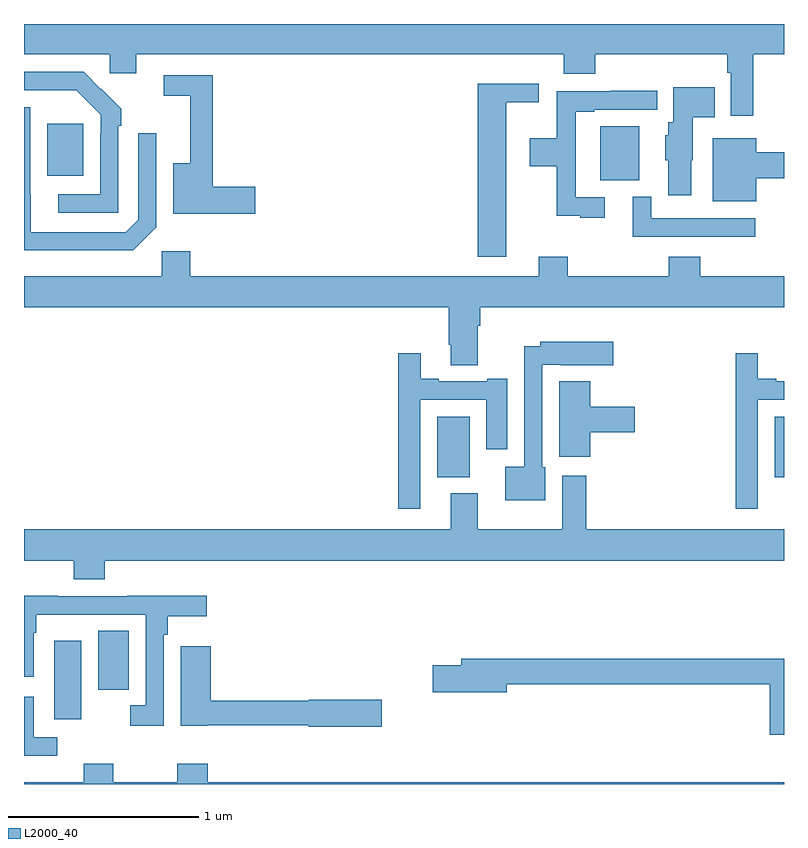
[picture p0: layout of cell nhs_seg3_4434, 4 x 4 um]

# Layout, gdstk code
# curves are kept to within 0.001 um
import gdstk
lib = gdstk.Library(unit=1e-6, precision=1e-09)
def R(c, l, rs):  # rectangles x0, y0, x1, y1
    for r in rs: c.add(gdstk.rectangle(r[:2], r[2:], *l))
def P(c, l, *ps):  # polygons
    for p in ps: c.add(gdstk.Polygon(p, *l))
L2000_40 = (2000, 40)

nhs_seg3_4434 = lib.new_cell('nhs_seg3_4434')
R(nhs_seg3_4434, L2000_40, [(347.159,706.74,347.302,707.155), (347.39,706.896,347.551,707.207), (349.175,708.014,349.345,708.334), (350.951,708.014,351,708.334), (350.033,709.577,350.239,709.861), (347.123,709.601,347.311,709.876)])
P(nhs_seg3_4434, L2000_40, [(350.837,710.24),(351,710.24),(351,710.4),(347,710.4),(347,710.24),(347.451,710.24),(347.451,710.142),(347.59,710.142),(347.59,710.24),(349.841,710.24),(349.841,710.138),(350.006,710.138),(350.006,710.24),(350.701,710.24),(350.701,710.144),(350.721,710.144),(350.721,709.917),(350.837,709.917)],
  [(347.496,709.865),(347.511,709.865),(347.511,709.953),(347.314,710.148),(347,710.148),(347,710.052),(347.275,710.052),(347.403,709.923),(347.403,709.823),(347.4,709.823),(347.4,709.503),(347.181,709.503),(347.181,709.407),(347.496,709.407)],
  [(348.217,709.544),(347.993,709.544),(347.993,710.13),(347.736,710.13),(347.736,710.022),(347.876,710.022),(347.876,709.666),(347.786,709.666),(347.786,709.402),(348.217,709.402)],
  [(349.537,709.988),(349.708,709.988),(349.708,710.086),(349.388,710.086),(349.388,709.176),(349.537,709.176)],
  [(350.512,709.683),(350.521,709.683),(350.521,709.91),(350.636,709.91),(350.636,710.068),(350.417,710.068),(350.417,709.884),(350.39,709.884),(350.39,709.815),(350.375,709.815),(350.375,709.683),(350.39,709.683),(350.39,709.5),(350.512,709.5)],
  [(350.056,709.488),(349.905,709.488),(349.905,709.938),(350.002,709.938),(350.002,709.95),(350.332,709.95),(350.332,710.048),(350.089,710.048),(350.089,710.046),(349.804,710.046),(349.804,709.798),(349.662,709.798),(349.662,709.651),(349.804,709.651),(349.804,709.391),(349.928,709.391),(349.928,709.38),(350.056,709.38)],
  [(347.697,709.329),(347.697,709.825),(347.601,709.825),(347.601,709.371),(347.535,709.305),(347.035,709.305),(347.035,709.505),(347.034,709.505),(347.034,709.962),(347,709.962),(347,709.208),(347.576,709.208)],
  [(350.854,709.588),(351,709.588),(351,709.724),(350.854,709.724),(350.854,709.798),(350.624,709.798),(350.624,709.466),(350.854,709.466)],
  [(350.848,709.377),(350.301,709.377),(350.301,709.492),(350.204,709.492),(350.204,709.281),(350.848,709.281)],
  [(349.387,708.812),(349.4,708.812),(349.4,708.908),(351,708.908),(351,709.072),(350.558,709.072),(350.558,709.174),(350.393,709.174),(350.393,709.072),(349.862,709.072),(349.862,709.174),(349.709,709.174),(349.709,709.072),(347.876,709.072),(347.876,709.204),(347.724,709.204),(347.724,709.072),(347,709.072),(347,708.908),(349.235,708.908),(349.235,708.712),(349.247,708.712),(349.247,708.604),(349.387,708.604)],
  [(349.744,708.066),(349.728,708.066),(349.728,708.606),(349.825,708.606),(349.825,708.605),(350.101,708.605),(350.101,708.727),(349.716,708.727),(349.716,708.704),(349.632,708.704),(349.632,708.07),(349.532,708.07),(349.532,707.894),(349.744,707.894)],
  [(349.086,708.423),(349.433,708.423),(349.433,708.162),(349.543,708.162),(349.543,708.532),(349.439,708.532),(349.439,708.519),(349.183,708.519),(349.183,708.532),(349.087,708.532),(349.087,708.667),(348.97,708.667),(348.97,707.85),(349.086,707.85)],
  [(350.862,708.423),(351,708.423),(351,708.519),(350.959,708.519),(350.959,708.532),(350.863,708.532),(350.863,708.667),(350.746,708.667),(350.746,707.85),(350.862,707.85)],
  [(349.979,708.251),(350.215,708.251),(350.215,708.385),(349.979,708.385),(349.979,708.52),(349.817,708.52),(349.817,708.123),(349.979,708.123)],
  [(347.426,707.576),(351,707.576),(351,707.74),(349.958,707.74),(349.958,708.022),(349.832,708.022),(349.832,707.74),(349.387,707.74),(349.387,707.929),(349.247,707.929),(349.247,707.74),(347,707.74),(347,707.576),(347.261,707.576),(347.261,707.477),(347.426,707.477)],
  [(347.736,707.186),(347.756,707.186),(347.756,707.282),(347.962,707.282),(347.962,707.39),(347.543,707.39),(347.543,707.388),(347.177,707.388),(347.177,707.39),(347,707.39),(347,706.965),(347.052,706.965),(347.052,707.195),(347.065,707.195),(347.065,707.291),(347.294,707.291),(347.294,707.292),(347.64,707.292),(347.64,706.815),(347.559,706.815),(347.559,706.707),(347.736,706.707)],
  [(348.883,706.844),(348.498,706.844),(348.498,706.838),(347.984,706.838),(347.984,707.125),(347.825,707.125),(347.825,706.706),(347.967,706.706),(347.967,706.71),(348.498,706.71),(348.498,706.702),(348.883,706.702)],
  [(351,707.06),(349.301,707.06),(349.301,707.024),(349.152,707.024),(349.152,706.882),(349.54,706.882),(349.54,706.924),(350.924,706.924),(350.924,706.659),(351,706.659)],
  [(347.176,706.647),(347.052,706.647),(347.052,706.86),(347,706.86),(347,706.55),(347.176,706.55)],
  [(351,706.408),(347.966,706.408),(347.966,706.507),(347.806,706.507),(347.806,706.408),(347.469,706.408),(347.469,706.507),(347.314,706.507),(347.314,706.408),(347,706.408),(347,706.4),(351,706.4)])

lib.write_gds('nhs_seg3_4434.gds')
